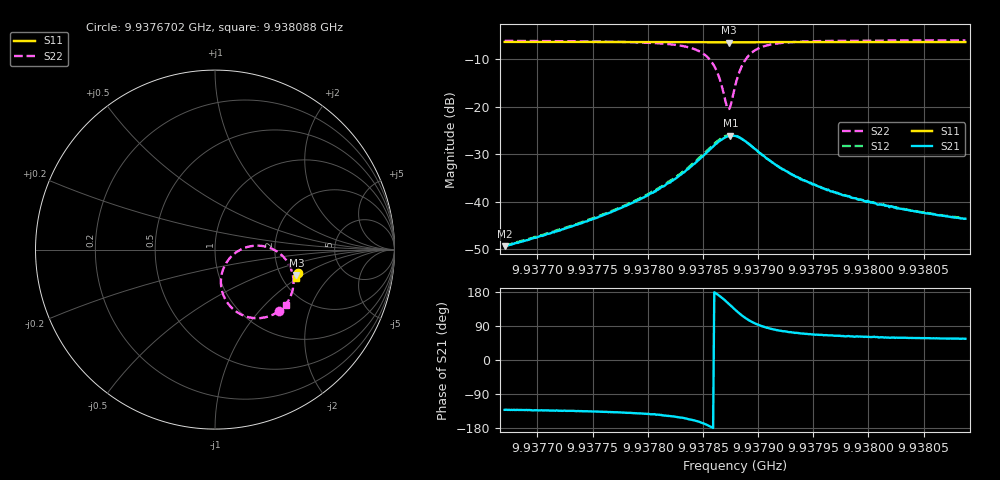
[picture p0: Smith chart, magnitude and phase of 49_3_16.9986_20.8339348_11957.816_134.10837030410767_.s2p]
#  HZ  S  RI  R  50.00
! Rohde & Schwarz Vector Network Analyzer
! Rohde-Schwarz,ZNB20-2Port,1311601062101988,3.16
! Created: UTC 3/20/2024, 10:54:14 PM
! freq[Hz]  re:S11  im:S11  re:S21  im:S21  re:S12  im:S12  re:S22  im:S22
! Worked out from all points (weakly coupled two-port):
!   401 points, 9.9376702 GHz to 9.938088 GHz, reference 50 ohm
!   highest |S21| = -26.10 dB at 9.9378749 GHz (marker M1); lowest = -49.4 dB at 9.9376702 GHz (marker M2)
!   lowest |S11| = -6.5 dB at 9.9378739 GHz (marker M3), VSWR 2.81, Z = 122 - j44.3 ohm
!   |S11| at or under -10 dB: nowhere
!   |S22| runs from -20.5 to -6.0 dB; largest |S21 - S12| = 0.0035
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9.93767021e9  0.4638 -0.1305  -0.00225 -0.00254  -0.00232 -0.00256  0.3564 -0.3419
9.93774018e9  0.4619 -0.1352  -0.00419 -0.00418  -0.00436 -0.00422  0.3348 -0.3563
9.93777778e9  0.4606 -0.1379  -0.0066 -0.00581  -0.00683 -0.00582  0.3112 -0.3674
9.93781015e9  0.4595 -0.1404  -0.0111 -0.00793  -0.0115 -0.0077  0.27 -0.3794
9.93783731e9  0.4577 -0.1427  -0.0204 -0.00893  -0.0214 -0.00882  0.1896 -0.3772
9.93785297e9  0.4559 -0.1433  -0.032 -0.00545  -0.0335 -0.00465  0.0977 -0.3286
9.9378582e9  0.4551 -0.1434  -0.037 -0.00143  -0.0386 -3.33e-05  0.0625 -0.2859
9.93786237e9  0.4545 -0.1432  -0.0407 0.00382  -0.0423 0.00583  0.0406 -0.2357
9.93786551e9  0.4541 -0.1428  -0.0429 0.0089  -0.044 0.0115  0.033 -0.1883
9.93787177e9  0.4535 -0.1416  -0.0432 0.0221  -0.0428 0.0253  0.0585 -0.0814
9.93787386e9  0.4536 -0.1412  -0.0414 0.0268  -0.0408 0.0298  0.0814 -0.0486
9.93787491e9  0.4537 -0.1409  -0.0403 0.0288  -0.0393 0.032  0.0956 -0.0335
9.93787908e9  0.4542 -0.1402  -0.0336 0.036  -0.0318 0.0385  0.1628 0.00888
9.93788222e9  0.4548 -0.1399  -0.0275 0.039  -0.0252 0.041  0.2176 0.0214
9.93788639e9  0.4556 -0.1398  -0.0191 0.0406  -0.0169 0.0417  0.2838 0.0161
9.93789162e9  0.4565 -0.1401  -0.0105 0.0392  -0.00876 0.0395  0.347 -0.0117
9.93789788e9  0.4572 -0.1409  -0.00346 0.0351  -0.00202 0.035  0.3936 -0.0547
9.93791981e9  0.4581 -0.1434  0.00498 0.0222  0.00568 0.0221  0.4371 -0.1678
9.93794906e9  0.4576 -0.1464  0.00586 0.0141  0.00608 0.014  0.4302 -0.234
9.9379783e9  0.457 -0.1487  0.00538 0.0103  0.00554 0.0103  0.4192 -0.2643
9.93801903e9  0.4559 -0.1516  0.00454 0.00743  0.0047 0.00759  0.4077 -0.2867
9.93808796e9  0.4539 -0.1563  0.00369 0.00546  0.00382 0.00542  0.3945 -0.306
